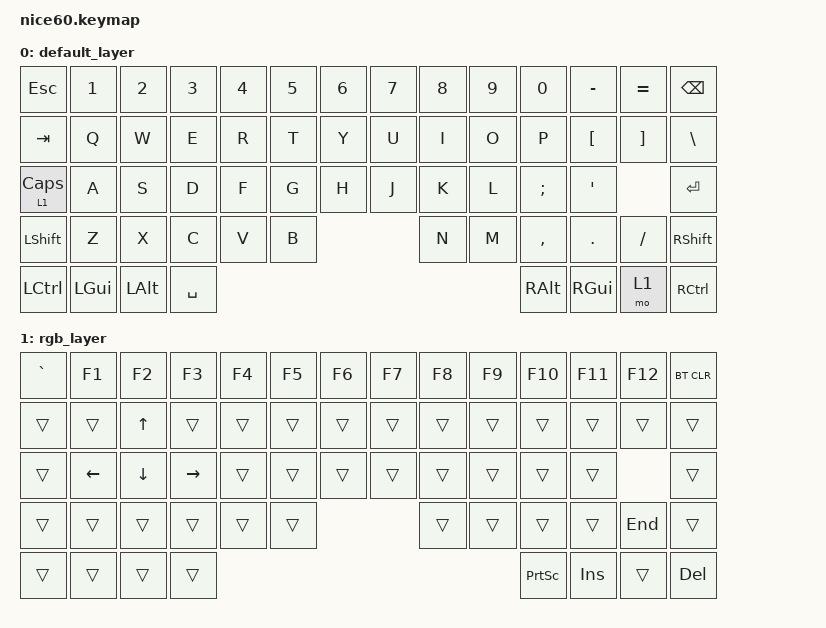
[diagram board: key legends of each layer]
/*
 * Copyright (c) 2021 Nick Winans
 *
 * SPDX-License-Identifier: MIT
 */

#include <behaviors.dtsi>
#include <dt-bindings/zmk/reset.h>
#include <dt-bindings/zmk/bt.h>
#include <dt-bindings/zmk/keys.h>

/ {
    keymap {
        compatible = "zmk,keymap";

        default_layer {
            // ------------------------------------------------------------------------------------------
            // | ESC |  1  |  2  |  3  |  4  |  5  |  6  |  7  |  8  |  9  |  0  |  -  |  =  |   BKSP   |
            // | TAB  |  Q  |  W  |  E  |  R  |  T  |  Y  |  U  |  I  |  O  |  P  |  [  |  ]  |   "|"   |
            // | CAPS  |  A  |  S  |  D  |  F  |  G  |  H  |  J  |  K  |  L  |  ;  |  '  |     ENTER    |
            // |  SHIFT  |  Z  |  X  |  C  |  V  |  B  |  N  |  M  |  ,  |  .  |  /  |      SHIFT       |
            // |  CTL  |  WIN  |  ALT  |            SPACE              |  ALT  |  WIN  |  MO(1) |  CTL  |
            // ------------------------------------------------------------------------------------------

            bindings = <
    &kp ESCAPE    &kp N1  &kp N2    &kp N3  &kp N4  &kp N5     &kp N6  &kp N7  &kp N8     &kp N9    &kp N0  &kp MINUS  &kp EQUAL     &kp BSPC
       &kp TAB     &kp Q   &kp W     &kp E   &kp R   &kp T      &kp Y   &kp U   &kp I      &kp O     &kp P   &kp LBKT   &kp RBKT     &kp BSLH
&lt 1 CAPSLOCK     &kp A   &kp S     &kp D   &kp F   &kp G      &kp H   &kp J   &kp K      &kp L  &kp SEMI    &kp SQT                 &kp RET
     &kp LSHFT             &kp Z     &kp X   &kp C   &kp V      &kp B   &kp N   &kp M  &kp COMMA   &kp DOT   &kp FSLH               &kp RSHFT
     &kp LCTRL  &kp LGUI          &kp LALT                  &kp SPACE                             &kp RALT   &kp RGUI      &mo 1    &kp RCTRL
            >;
        };

        rgb_layer {
            // ------------------------------------------------------------------------------------------------
            // |    `   | F1  | F2  | F3  | F4  | F5  | F6  | F7  | F8  | F9  | F10  | F11 | F12 |   BT CLR   |
            // |         |   |  UP |   |       |       |       |       |   |     |    |     |     |           |
            // |          | LT |  DN  | RT |       |       |       |       |   |     |   |     |  EFFECT FORW |
            // |             |     |      |      |     |     |     |     |     |     | END |                  |
            // |         |      |      |                                    | PRT SCR |  INS  |       |  DEL  |
            // ------------------------------------------------------------------------------------------------

            bindings = <
&kp GRAVE    &kp F1    &kp F2     &kp F3  &kp F4  &kp F5  &kp F6  &kp F7  &kp F8  &kp F9    &kp F10     &kp F11  &kp F12    &bt BT_CLR
   &trans    &trans    &kp UP     &trans  &trans  &trans  &trans  &trans  &trans  &trans     &trans      &trans   &trans        &trans
   &trans  &kp LEFT  &kp DOWN  &kp RIGHT  &trans  &trans  &trans  &trans  &trans  &trans     &trans      &trans                 &trans
   &trans              &trans     &trans  &trans  &trans  &trans  &trans  &trans  &trans     &trans     &kp END                 &trans
   &trans    &trans               &trans                  &trans                          &kp PSCRN  &kp INSERT   &trans       &kp DEL
            >;
        };
    };
};
